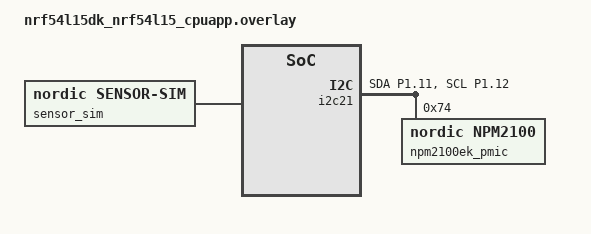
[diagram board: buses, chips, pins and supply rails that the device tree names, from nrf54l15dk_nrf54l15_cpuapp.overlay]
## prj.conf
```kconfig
#
# Copyright (c) 2018 Nordic Semiconductor
#
# SPDX-License-Identifier: LicenseRef-Nordic-5-Clause
#
CONFIG_NCS_SAMPLES_DEFAULTS=y

CONFIG_BT=y
CONFIG_BT_PERIPHERAL=y
CONFIG_BT_DEVICE_NAME="Nordic_LBS"

# Enable the LBS service
CONFIG_BT_LBS=y
CONFIG_BT_LBS_POLL_BUTTON=y
CONFIG_DK_LIBRARY=y

CONFIG_SYSTEM_WORKQUEUE_STACK_SIZE=2048

# Enable Sensor Driver
CONFIG_SENSOR=y
CONFIG_CBPRINTF_FP_SUPPORT=y

CONFIG_SENSOR=y
CONFIG_NRF_FUEL_GAUGE=y
CONFIG_NRF_FUEL_GAUGE_VARIANT_PRIMARY_CELL=y
CONFIG_REQUIRES_FLOAT_PRINTF=y

# Enable Battery Service (BAS) Bluetooth profile
CONFIG_BT_BAS=y
```

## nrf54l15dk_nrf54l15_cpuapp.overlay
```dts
/ {
    sensor_sim: sensor_sim{
    compatible = "nordic,sensor-sim";
    acc-signal = "wave";
    base-temperature = < 20 >;
    base-pressure = < 98 >;
    };
};

&pinctrl {
    i2c21_default: i2c21_default {
        group1 {
            psels = <NRF_PSEL(TWIM_SDA, 1, 11)>,
                    <NRF_PSEL(TWIM_SCL, 1, 12)>;
                    bias-pull-up;
        }; //GPIO Port 1, Pin 11 & 12
      };

    i2c21_sleep: i2c21_sleep {
        group1 {
            psels = <NRF_PSEL(TWIM_SDA, 1, 11)>,
                    <NRF_PSEL(TWIM_SCL, 1, 12)>;
                    low-power-enable;
            };
       };
};

&i2c21 {
    status = "okay";
    pinctrl-0 = <&i2c21_default>;
    pinctrl-1 = <&i2c21_sleep>;
    pinctrl-names = "default", "sleep";

    // list i2c attached peripherals
    npm2100ek_pmic: pmic@74 {
        compatible = "nordic,npm2100";
        reg = <0x74>;

        npm2100ek_vbat: vbat {
            compatible = "nordic,npm2100-vbat";
        };
    };
};
```

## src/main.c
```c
/*
 * Copyright (c) 2018 Nordic Semiconductor ASA
 *
 * SPDX-License-Identifier: LicenseRef-Nordic-5-Clause
 */

#include <zephyr/types.h>
#include <stddef.h>
#include <string.h>
#include <errno.h>
#include <zephyr/sys/printk.h>
#include <zephyr/sys/byteorder.h>
#include <zephyr/kernel.h>
#include <zephyr/drivers/gpio.h>
#include <soc.h>

#include <zephyr/bluetooth/bluetooth.h>
#include <zephyr/bluetooth/hci.h>
#include <zephyr/bluetooth/conn.h>
#include <zephyr/bluetooth/uuid.h>
#include <zephyr/bluetooth/gatt.h>

#include <bluetooth/services/lbs.h>
#include <zephyr/bluetooth/services/bas.h>

#include <zephyr/settings/settings.h>

#include <dk_buttons_and_leds.h>


#include <zephyr/kernel.h>
#include <zephyr/device.h>
#include <zephyr/drivers/sensor.h>
#include <nrf_fuel_gauge.h>

// Global variables for fuel gauge
static int64_t ref_time;
static const struct device *vbat = DEVICE_DT_GET(DT_NODELABEL(npm2100ek_vbat));
static const struct battery_model_primary FG_model = {
    #include <battery_models/primary_cell/AA_Alkaline.inc>
};
/* Basic assumption of average battery current.
 * Using a non-zero value improves the fuel gauge accuracy, even if the number is not exact.
 */
static const float battery_current = 5e-3f;


#include <zephyr/drivers/sensor.h>

static void process_sample(const struct device *dev)
{
    struct sensor_value pressure, temp;

    // Fetch a sample from the sensor and store it in an internal driver buffer
    if (sensor_sample_fetch(dev) < 0) {
        printk("Error: Sensor sample update error\n");
        return;
    }

    // Get a reading from a sensor device (read pressure)
    if (sensor_channel_get(dev, SENSOR_CHAN_PRESS, &pressure) < 0) {
        printk("Error: Cannot read LPS22HB pressure channel\n");
        return;
    }

    // Get a reading from a sensor device (read temperature)	
    if (sensor_channel_get(dev, SENSOR_CHAN_AMBIENT_TEMP, &temp) < 0) {
        printk("Error: Cannot read LPS22HB temperature channel\n");
        return;
    }

    /* display pressure */
    printk("pressure: %d.%d kPa, ", pressure.val1, pressure.val2);
    //printk("Pressure: %.1f kPa, ", sensor_value_to_double(&pressure));

    /* display temperature */
    printk("Temperature: %.1f C\n", sensor_value_to_double(&temp));
}

#define DEVICE_NAME             CONFIG_BT_DEVICE_NAME
#define DEVICE_NAME_LEN         (sizeof(DEVICE_NAME) - 1)


#define RUN_STATUS_LED          DK_LED1
#define CON_STATUS_LED          DK_LED2
#define RUN_LED_BLINK_INTERVAL  1000

#define USER_LED                DK_LED3

#define USER_BUTTON             DK_BTN1_MSK

static bool app_button_state;
static struct k_work adv_work;

static const struct bt_data ad[] = {
	BT_DATA_BYTES(BT_DATA_FLAGS, (BT_LE_AD_GENERAL | BT_LE_AD_NO_BREDR)),
	BT_DATA(BT_DATA_NAME_COMPLETE, DEVICE_NAME, DEVICE_NAME_LEN),
};

static const struct bt_data sd[] = {
	BT_DATA_BYTES(BT_DATA_UUID128_ALL, BT_UUID_LBS_VAL),
};

static void adv_work_handler(struct k_work *work)
{
	int err = bt_le_adv_start(BT_LE_ADV_CONN_FAST_2, ad, ARRAY_SIZE(ad), sd, ARRAY_SIZE(sd));

	if (err) {
		printk("Advertising failed to start (err %d)\n", err);
		return;
	}

	printk("Advertising successfully started\n");
}

static void advertising_start(void)
{
	k_work_submit(&adv_work);
}

static void connected(struct bt_conn *conn, uint8_t err)
{
	if (err) {
		printk("Connection failed, err 0x%02x %s\n", err, bt_hci_err_to_str(err));
		return;
	}

	printk("Connected\n");

	dk_set_led_on(CON_STATUS_LED);
}

static void disconnected(struct bt_conn *conn, uint8_t reason)
{
	printk("Disconnected, reason 0x%02x %s\n", reason, bt_hci_err_to_str(reason));

	dk_set_led_off(CON_STATUS_LED);
}

static void recycled_cb(void)
{
	printk("Connection object available from previous conn. Disconnect is complete!\n");
	advertising_start();
}

#ifdef CONFIG_BT_LBS_SECURITY_ENABLED
static void security_changed(struct bt_conn *conn, bt_security_t level,
			     enum bt_security_err err)
{
	char addr[BT_ADDR_LE_STR_LEN];

	bt_addr_le_to_str(bt_conn_get_dst(conn), addr, sizeof(addr));

	if (!err) {
		printk("Security changed: %s level %u\n", addr, level);
	} else {
		printk("Security failed: %s level %u err %d %s\n", addr, level, err,
		       bt_security_err_to_str(err));
	}
}
#endif

BT_CONN_CB_DEFINE(conn_callbacks) = {
	.connected        = connected,
	.disconnected     = disconnected,
	.recycled         = recycled_cb,
#ifdef CONFIG_BT_LBS_SECURITY_ENABLED
	.security_changed = security_changed,
#endif
};

#if defined(CONFIG_BT_LBS_SECURITY_ENABLED)
static void auth_passkey_display(struct bt_conn *conn, unsigned int passkey)
{
	char addr[BT_ADDR_LE_STR_LEN];

	bt_addr_le_to_str(bt_conn_get_dst(conn), addr, sizeof(addr));

	printk("Passkey for %s: %06u\n", addr, passkey);
}

static void auth_cancel(struct bt_conn *conn)
{
	char addr[BT_ADDR_LE_STR_LEN];

	bt_addr_le_to_str(bt_conn_get_dst(conn), addr, sizeof(addr));

	printk("Pairing cancelled: %s\n", addr);
}

static void pairing_complete(struct bt_conn *conn, bool bonded)
{
	char addr[BT_ADDR_LE_STR_LEN];

	bt_addr_le_to_str(bt_conn_get_dst(conn), addr, sizeof(addr));

	printk("Pairing completed: %s, bonded: %d\n", addr, bonded);
}

static void pairing_failed(struct bt_conn *conn, enum bt_security_err reason)
{
	char addr[BT_ADDR_LE_STR_LEN];

	bt_addr_le_to_str(bt_conn_get_dst(conn), addr, sizeof(addr));

	printk("Pairing failed conn: %s, reason %d %s\n", addr, reason,
	       bt_security_err_to_str(reason));
}

static struct bt_conn_auth_cb conn_auth_callbacks = {
	.passkey_display = auth_passkey_display,
	.cancel = auth_cancel,
};

static struct bt_conn_auth_info_cb conn_auth_info_callbacks = {
	.pairing_complete = pairing_complete,
	.pairing_failed = pairing_failed
};
#else
static struct bt_conn_auth_cb conn_auth_callbacks;
static struct bt_conn_auth_info_cb conn_auth_info_callbacks;
#endif

static void app_led_cb(bool led_state)
{
	dk_set_led(USER_LED, led_state);
}

static bool app_button_cb(void)
{
	return app_button_state;
}

static struct bt_lbs_cb lbs_callbacs = {
	.led_cb    = app_led_cb,
	.button_cb = app_button_cb,
};

static void button_changed(uint32_t button_state, uint32_t has_changed)
{
	if (has_changed & USER_BUTTON) {
		uint32_t user_button_state = button_state & USER_BUTTON;

		bt_lbs_send_button_state(user_button_state);
		app_button_state = user_button_state ? true : false;
	}
}

static int init_button(void)
{
	int err;

	err = dk_buttons_init(button_changed);
	if (err) {
		printk("Cannot init buttons (err: %d)\n", err);
	}

	return err;
}

static int read_sensors(const struct device *vbat, float *voltage, float *temp)
{
    struct sensor_value value;
    int ret;

    ret = sensor_sample_fetch(vbat);
    if (ret < 0) {
        return ret;
    }

    sensor_channel_get(vbat, SENSOR_CHAN_GAUGE_VOLTAGE, &value);
    *voltage = (float)value.val1 + ((float)value.val2 / 1000000);

    sensor_channel_get(vbat, SENSOR_CHAN_DIE_TEMP, &value);
    *temp = (float)value.val1 + ((float)value.val2 / 1000000);

    return 0;
}

int fuel_gauge_init(const struct device *vbat)
{
    struct nrf_fuel_gauge_init_parameters parameters = {
        .model_primary = &FG_model,
        .i0 = 0.0f,
        .opt_params = NULL,
    };
    int ret;

    printk("nRF Fuel Gauge version: %s\n", nrf_fuel_gauge_version);

    ret = read_sensors(vbat, &parameters.v0, &parameters.t0);
    if (ret < 0) {
        return ret;
    }

    ret = nrf_fuel_gauge_init(&parameters, NULL);
    if (ret < 0) {
        return ret;
    }

    ref_time = k_uptime_get();

    return 0;
}

int fuel_gauge_update(const struct device *vbat) 
{
    float voltage;
    float temp;
    float soc;
    float delta;
    int ret;

    ret = read_sensors(vbat, &voltage, &temp);
    if (ret < 0) {
        printk("Error: Could not read from vbat device\n");
        return ret;
    }

    delta = (float)k_uptime_delta(&ref_time) / 1000.f;
    soc = nrf_fuel_gauge_process(voltage, battery_current, temp, delta, NULL);
    bt_bas_set_battery_level((uint8_t)soc);
    printk("V: %.3f, T: %.2f, SoC: %.2f\n", (double)voltage, (double)temp, (double)soc);

    return 0;
}

int main(void)
{
	int blink_status = 0;
	int err;

	printk("Starting Bluetooth Peripheral LBS sample\n");

	err = dk_leds_init();
	if (err) {
		printk("LEDs init failed (err %d)\n", err);
		return 0;
	}

	err = init_button();
	if (err) {
		printk("Button init failed (err %d)\n", err);
		return 0;
	}

	if (IS_ENABLED(CONFIG_BT_LBS_SECURITY_ENABLED)) {
		err = bt_conn_auth_cb_register(&conn_auth_callbacks);
		if (err) {
			printk("Failed to register authorization callbacks.\n");
			return 0;
		}

		err = bt_conn_auth_info_cb_register(&conn_auth_info_callbacks);
		if (err) {
			printk("Failed to register authorization info callbacks.\n");
			return 0;
		}
	}

	err = bt_enable(NULL);
	if (err) {
		printk("Bluetooth init failed (err %d)\n", err);
		return 0;
	}

	printk("Bluetooth initialized\n");

	if (IS_ENABLED(CONFIG_SETTINGS)) {
		settings_load();
	}

	err = bt_lbs_init(&lbs_callbacs);
	if (err) {
		printk("Failed to init LBS (err:%d)\n", err);
		return 0;
	}

	k_work_init(&adv_work, adv_work_handler);
	advertising_start();

    #define SENSOR_NODE DT_NODELABEL(sensor_sim)
    const struct device *const dev = DEVICE_DT_GET(SENSOR_NODE);
    if (!device_is_ready(dev)) {
        printk("Sensor is not ready %s\n", dev->name);
        return 0;
    }
    printk("Sensor is ready!\n");

    printk("nPM2100 Fuel Gauge integration on %s\n", CONFIG_BOARD_TARGET);

    if (!device_is_ready(vbat)) {
        printk("vbat device not ready.\n");
        return -1;
    }
    printk("PMIC device ok, init fuel gauge\n");

    err = fuel_gauge_init(vbat);
    if (err < 0) {
        printk("Could not initialise fuel gauge.\n");
        return -1;
    }
    printk("Fuel gauge initialised using model %s\n", FG_model.name);

	for (;;) {

        fuel_gauge_update(vbat);

        process_sample(dev);

		dk_set_led(RUN_STATUS_LED, (++blink_status) % 2);
		k_sleep(K_MSEC(RUN_LED_BLINK_INTERVAL));
	}
}
```
